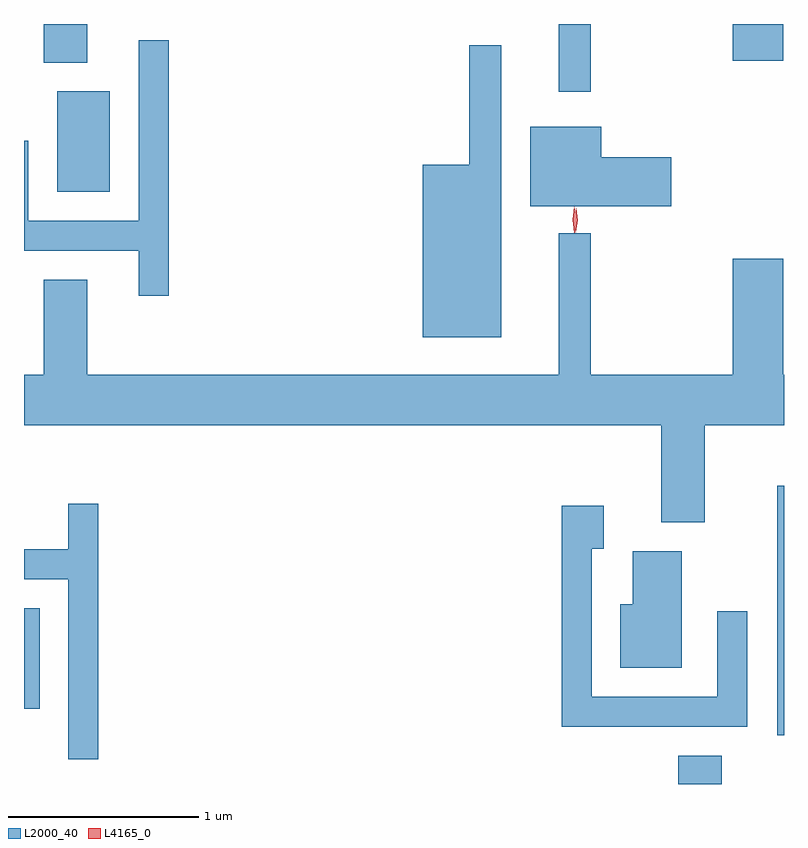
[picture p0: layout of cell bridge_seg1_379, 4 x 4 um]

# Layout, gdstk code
import gdstk
lib = gdstk.Library(unit=1e-6, precision=1e-09)
def R(c, l, rs):  # rectangles x0, y0, x1, y1
    for r in rs: c.add(gdstk.rectangle(r[:2], r[2:], *l))
def P(c, l, *ps):  # polygons
    for p in ps: c.add(gdstk.Polygon(p, *l))
L2000_40 = (2000, 40)
L4165_0 = (4165, 0)

bridge_seg1_379 = lib.new_cell('bridge_seg1_379')
R(bridge_seg1_379, L2000_40, [(434.571,966.509,434.799,966.659), (435.091,966.766,435.127,968.079), (431.127,966.906,431.209,967.434), (431.301,969.626,431.579,970.154), (433.941,970.153,434.109,970.509), (431.231,970.306,431.459,970.509), (434.856,970.316,435.124,970.509)])
P(bridge_seg1_379, L2000_40, [(431.889,970.423),(431.731,970.423),(431.731,969.474),(431.149,969.474),(431.149,969.894),(431.127,969.894),(431.127,969.316),(431.731,969.316),(431.731,969.078),(431.889,969.078)],
  [(433.639,970.398),(433.471,970.398),(433.471,969.769),(433.226,969.769),(433.226,968.861),(433.639,968.861)],
  [(434.534,969.809),(434.164,969.809),(434.164,969.969),(433.791,969.969),(433.791,969.551),(434.534,969.551)],
  [(434.709,968.396),(435.127,968.396),(435.127,968.664),(435.124,968.664),(435.124,969.274),(434.856,969.274),(434.856,968.664),(434.109,968.664),(434.109,969.408),(433.941,969.408),(433.941,968.664),(431.459,968.664),(431.459,969.164),(431.231,969.164),(431.231,968.664),(431.127,968.664),(431.127,968.396),(434.481,968.396),(434.481,967.886),(434.709,967.886)],
  [(431.519,967.983),(431.361,967.983),(431.361,967.744),(431.127,967.744),(431.127,967.586),(431.361,967.586),(431.361,966.638),(431.519,966.638)],
  [(434.934,967.418),(434.776,967.418),(434.776,966.969),(434.114,966.969),(434.114,967.746),(434.179,967.746),(434.179,967.974),(433.956,967.974),(433.956,966.811),(434.934,966.811)],
  [(434.589,967.734),(434.331,967.734),(434.331,967.454),(434.266,967.454),(434.266,967.121),(434.589,967.121)])
P(bridge_seg1_379, L4165_0, [(434.024,969.41),(434.014,969.478),(434.023,969.546),(434.024,969.546),(434.024,969.546),(434.034,969.478),(434.026,969.41),(434.025,969.41)],
  [(434.031,969.413),(434.031,969.413),(434.022,969.476),(434.033,969.539),(434.033,969.54),(434.034,969.539),(434.042,969.476),(434.032,969.413)])

lib.write_gds('bridge_seg1_379.gds')
